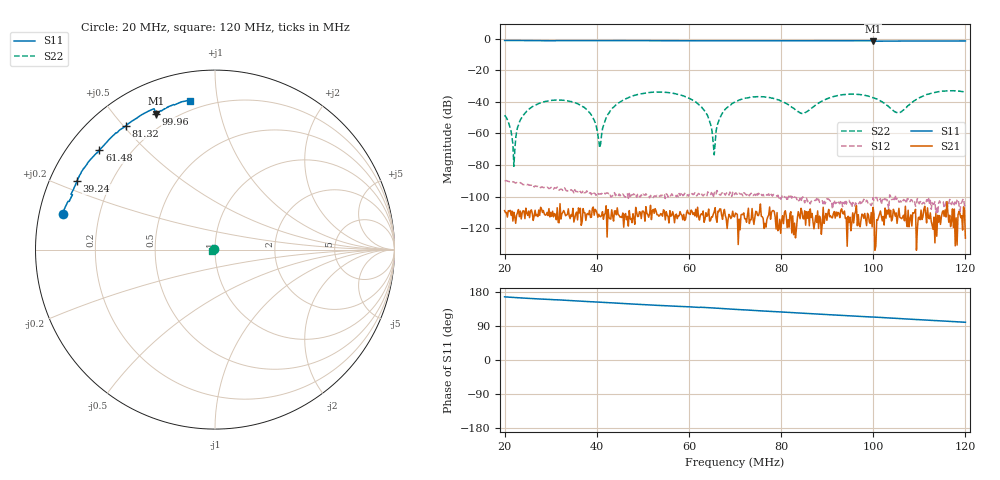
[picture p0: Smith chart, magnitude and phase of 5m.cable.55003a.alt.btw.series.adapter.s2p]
! Anritsu VNA Master:  Model: MS2036C/10/77
! SN:  1601066
! /card0/usr/cable.55003a.alt.btw.series.adapter.s2p
! Existing Calibration Information:
! TYPE:  Current Settings,  Active Cal Settings
! TIME:  05/23/2018 09:25:50 AM,  05/23/2018 09:10:45 AM
! INTERNAL TEMP:  48.5 C,  48.3 C
! # POINTS:  500,  500
! START FREQ:  20.000 MHz,  20.000 MHz
! STOP FREQ:  120.000 MHz,  120.000 MHz
! SOURCE POWER:  High,  High
! IFBW:  50 Hz,  50 Hz
! AVG FACTOR:  1 ,  1
! REF PLANE 1:  0 mm,  0 mm
! REF PLANE 2:  0 mm,  0 mm
! CAL TYPE:  Full S22,  Full S22
! CAL METHOD:  SOLT,  SOLT
! CAL LINE TYPE:  Coax,  Coax
! DUT PORT 1:  K-Conn(M),  K-Conn(M)
! DUT PORT 2:  K-Conn(M),  K-Conn(M)
! CAL STATUS:  OK: Accuracy High,  --
# GHZ S DB R 50.0
! FREQ.GHZ  S11DB  S11A  S21DB  S21A  S12DB  S12A  S22DB  S22A
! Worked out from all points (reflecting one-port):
!   500 points, 20 MHz to 120 MHz, reference 50 ohm
!   lowest |S11| = -1.7 dB at 99.96 MHz (marker M1), VSWR 10.38, Z = 6.86 + j32.4 ohm
!   phase of S11 starts at 167 deg and turns -67 deg over the sweep
!   S11 on the Smith chart (normalised r, x): 20 MHz: 0.07, +0.12; 39.24 MHz: 0.08, +0.23; 61.48 MHz: 0.09, +0.37; 81.32 MHz: 0.10, +0.51; 99.96 MHz: 0.14, +0.65; 120 MHz: 0.15, +0.83
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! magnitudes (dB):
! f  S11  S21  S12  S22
! 20 MHz  -1.2  -108.8  -89.9  -48.5
! 22 MHz  -1.2  -109.8  -90.6  -80.8
! 23.41 MHz  -1.2  -109.0  -91.0  -51.5
! 26.01 MHz  -1.3  -110.6  -92.8  -43.0
! 36.83 MHz  -1.3  -115.6  -97.3  -42.8
! 39.24 MHz  -1.3  -106.5  -97.7  -50.6
! 40.64 MHz  -1.3  -112.3  -98.2  -69.1
! 42.24 MHz  -1.3  -125.4  -97.7  -48.7
! 44.25 MHz  -1.3  -111.4  -98.6  -41.7
! 53.47 MHz  -1.3  -112.3  -99.1  -33.8
! 61.48 MHz  -1.4  -107.8  -98.6  -40.1
! 64.09 MHz  -1.4  -111.4  -96.9  -49.0
! 65.49 MHz  -1.4  -109.6  -97.6  -73.5
! 67.09 MHz  -1.4  -111.6  -97.7  -48.0
! 70.1 MHz  -1.4  -110.3  -97.6  -39.9
! 81.32 MHz  -1.4  -119.5  -102.7  -41.4
! 86.73 MHz  -1.4  -110.6  -102.6  -43.7
! 93.15 MHz  -1.4  -107.6  -102.6  -35.6
! 99.96 MHz  -1.7  -106.7  -100.6  -37.4
! 103.4 MHz  -1.6  -108.0  -107.7  -43.1
! 105.8 MHz  -1.6  -113.0  -103.1  -46.8
! 120 MHz  -1.5  -126.1  -106.1  -33.8
